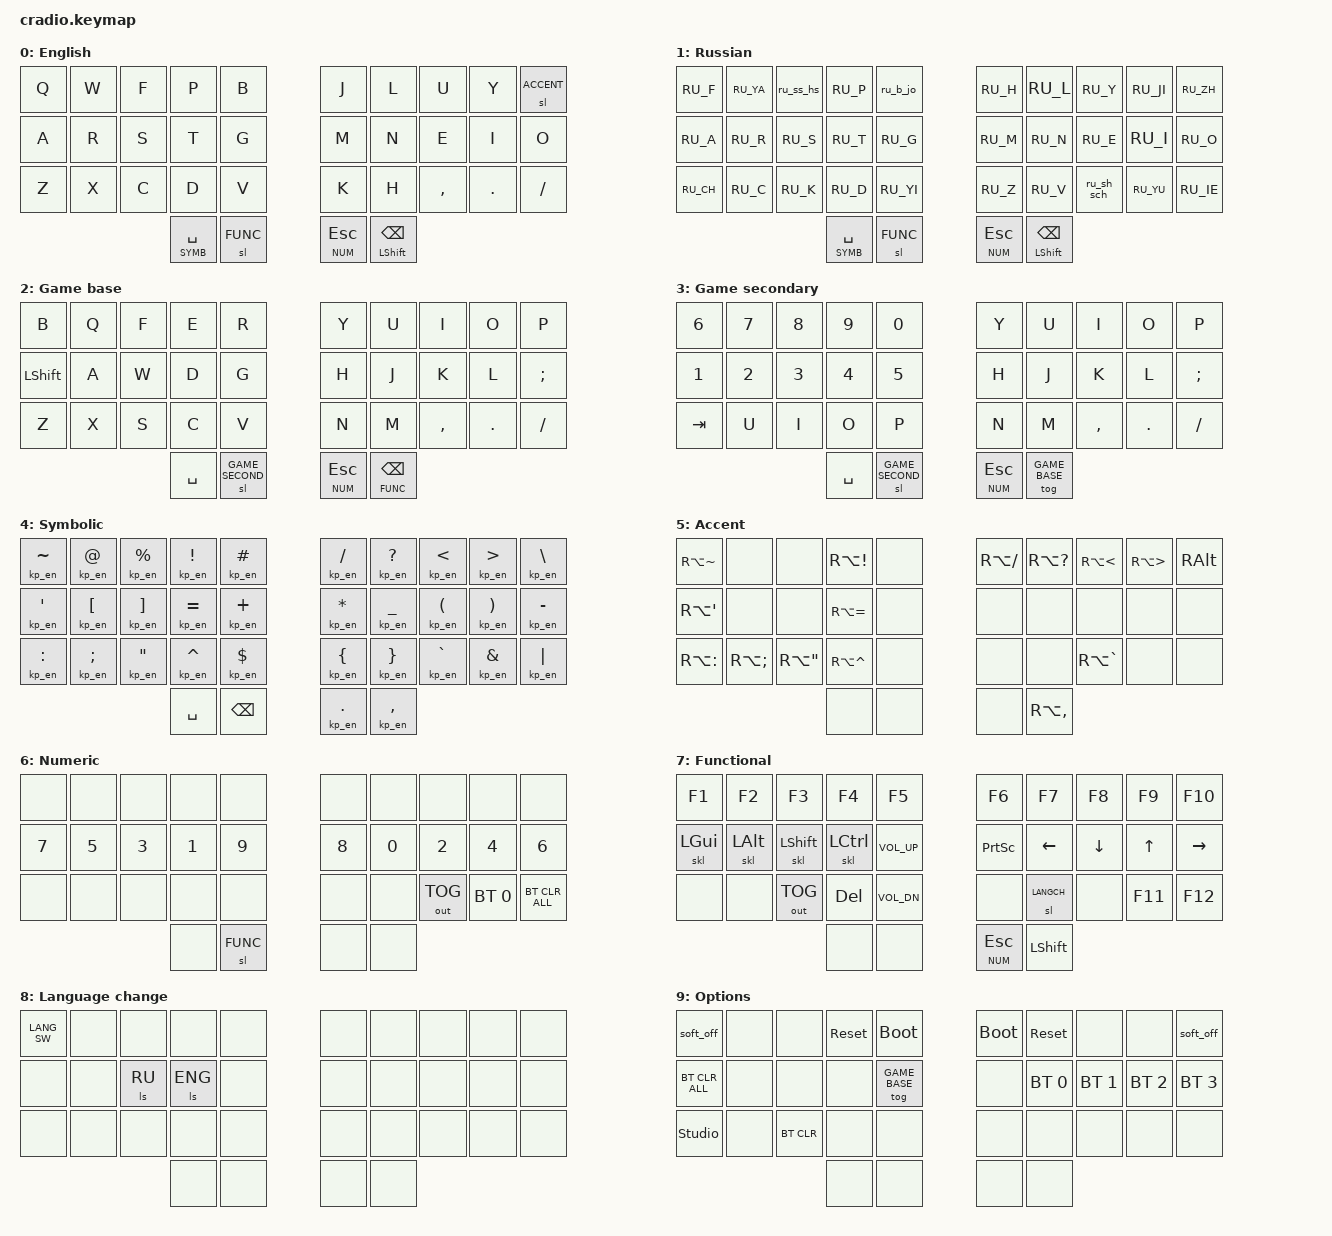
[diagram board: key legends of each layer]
// Copyright (c) 2022 TZMK Contributors
// SPDX-License-Identifier: MIT

#include <behaviors.dtsi>
#include <dt-bindings/zmk/keys.h>
#include <dt-bindings/zmk/bt.h>
#include <dt-bindings/zmk/outputs.h>

#include "zmk-helpers/helper.h"
#include "zmk-helpers/key-labels/34.h"

#define ENG 0
#define RU 1
#define GAME_BASE 2
#define GAME_SECOND 3
#define SYMB 4
#define ACCENT 5
#define NUM 6
#define FUNC 7
#define LANGCH 8
#define OPTS 9

#include "definitions/config.dtsi"
#include "definitions/russian.dtsi"
#include "features/behaviors.dtsi"
#include "features/combos.dtsi"
#include "features/conditional_layers.dtsi"

/ {
    keymap {
        compatible = "zmk,keymap";

        eng_layer { // ENG
            display-name = "English";
            bindings = <
            &kp Q      &kp W      &kp F      &kp P      &kp B          &kp J      &kp L      &kp U      &kp Y      &sl ACCENT
            &kp A      &kp R      &kp S      &kp T      &kp G          &kp M      &kp N      &kp E      &kp I      &kp O
            &kp Z      &kp X      &kp C      &kp D      &kp V          &kp K      &kp H      &kp COMMA  &kp DOT    &kp FSLH
                                       &lt SYMB SPACE   &sl FUNC      &lt NUM ESC  &mt LSHIFT BSPC
            >;
        };

        ru_layer { // RU
            display-name = "Russian";
            bindings = <
            &kp RU_F   &kp RU_YA  &ru_ss_hs  &kp RU_P   &ru_b_jo     &kp RU_H  &kp RU_L  &kp RU_Y    &kp RU_JI  &kp RU_ZH
            &kp RU_A   &kp RU_R   &kp RU_S   &kp RU_T   &kp RU_G     &kp RU_M  &kp RU_N  &kp RU_E    &kp RU_I   &kp RU_O
            &kp RU_CH  &kp RU_C   &kp RU_K   &kp RU_D   &kp RU_YI    &kp RU_Z  &kp RU_V  &ru_sh_sch  &kp RU_YU  &kp RU_IE
                                       &lt SYMB SPACE   &sl FUNC     &lt NUM ESC  &mt LSHIFT BSPC
            >;
        };

        game_base_layer { // GAME_BASE
            display-name = "Game base";
            bindings = <
            &kp B      &kp Q      &kp F      &kp E      &kp R            &kp Y      &kp U      &kp I      &kp O      &kp P
            &kp LSHIFT &kp A      &kp W      &kp D      &kp G            &kp H      &kp J      &kp K      &kp L      &kp SEMI
            &kp Z      &kp X      &kp S      &kp C      &kp V            &kp N      &kp M      &kp COMMA  &kp DOT    &kp FSLH
                                             &kp SPACE  &sl GAME_SECOND  &lt NUM ESC  &lt FUNC BSPC
            >;
        };

        game_second_layer { // GAME_SECOND
            display-name = "Game secondary";
            bindings = <
            &kp N6      &kp N7      &kp N8      &kp N9      &kp N0              &kp Y        &kp U      &kp I      &kp O      &kp P
            &kp N1      &kp N2      &kp N3      &kp N4      &kp N5              &kp H        &kp J      &kp K      &kp L      &kp SEMI
            &kp TAB     &kp U       &kp I       &kp O       &kp P               &kp N        &kp M      &kp COMMA  &kp DOT    &kp FSLH
                                             &kp SPACE      &sl GAME_SECOND     &lt NUM ESC  &tog GAME_BASE
            >;
        };

        symb_layer { // SYMB
            display-name = "Symbolic";
            bindings = <
            &kp_en TILDE  &kp_en AT    &kp_en PRCNT  &kp_en EXCL   &kp_en HASH      &kp_en SLASH  &kp_en QMARK  &kp_en LT     &kp_en GT    &kp_en BSLH
            &kp_en SQT    &kp_en LBKT  &kp_en RBKT   &kp_en EQUAL  &kp_en PLUS      &kp_en STAR   &kp_en UNDER  &kp_en LPAR   &kp_en RPAR  &kp_en MINUS
            &kp_en COLON  &kp_en SEMI  &kp_en DQT    &kp_en CARET  &kp_en DLLR      &kp_en LBRC   &kp_en RBRC   &kp_en GRAVE  &kp_en AMPS  &kp_en PIPE
                                            &kp SPACE  &kp BSPC    &kp_en PERIOD    &kp_en COMMA
            >;
        };

        accent_layer { // ACCENT
            display-name = "Accent";
            bindings = <
            &kp RA(TILDE) &none        &none       &kp RA(EXCL)  &none          &kp RA(SLASH) &kp RA(QMARK) &kp RA(LT)    &kp RA(GT) &kp RALT
            &kp RA(SQT)   &none        &none       &kp RA(EQUAL) &none          &none         &none         &none         &none      &none
            &kp RA(COLON) &kp RA(SEMI) &kp RA(DQT) &kp RA(CARET) &none          &none         &none         &kp RA(GRAVE) &none      &none
                                                   &none         &none          &none         &kp RA(COMMA)
            >;
        };

        num_layer { // NUM
            display-name = "Numeric";
            bindings = <
            &none      &none      &none      &none      &none          &none      &none      &none        &none        &none
            &kp N7     &kp N5     &kp N3     &kp N1     &kp N9         &kp N8     &kp N0     &kp N2       &kp N4       &kp N6
            &none      &none      &none      &none      &none          &none      &none      &out OUT_TOG &bt BT_SEL 0 &bt BT_CLR_ALL
                                             &none      &sl FUNC       &none      &none
            >;
        };

        func_layer { // FUNC
            display-name = "Functional";
            bindings = <
            &kp F1    &kp F2    &kp F3        &kp F4     &kp F5            &kp F6       &kp F7        &kp F8      &kp F9     &kp F10
            &skl LGUI &skl LALT &skl LSHIFT   &skl LCTRL &kp C_VOL_UP      &kp PSCRN    &kp LEFT      &kp DOWN    &kp UP     &kp RIGHT
            &none     &none     &out OUT_TOG  &kp DEL    &kp C_VOL_DN      &none        &sl LANGCH    &none       &kp F11    &kp F12
                                           &none     &none             &lt NUM ESC  &kp LSHIFT
            >;
        };

        lang_layer { // LANGCH
            display-name = "Language change";
            bindings = <
            &kp LANG_SW  &none      &none      &none      &none          &none      &none      &none      &none      &none
            &none        &none      &ls RU     &ls ENG    &none          &none      &none      &none      &none      &none
            &none        &none      &none      &none      &none          &none      &none      &none      &none      &none
                                               &none      &none          &none      &none
            >;
        };

        opts_layer { // OPTS
            display-name = "Options";
            bindings = <
            &soft_off       &none       &none       &sys_reset  &bootloader     &bootloader  &sys_reset    &none         &none         &soft_off
            &bt BT_CLR_ALL  &none       &none       &none       &tog GAME_BASE  &none        &bt BT_SEL 0  &bt BT_SEL 1  &bt BT_SEL 2  &bt BT_SEL 3
            &studio_unlock  &none       &bt BT_CLR  &none       &none           &none        &none         &none         &none         &none
                                                    &none       &none           &none        &none
            >;
        };
    };
};
